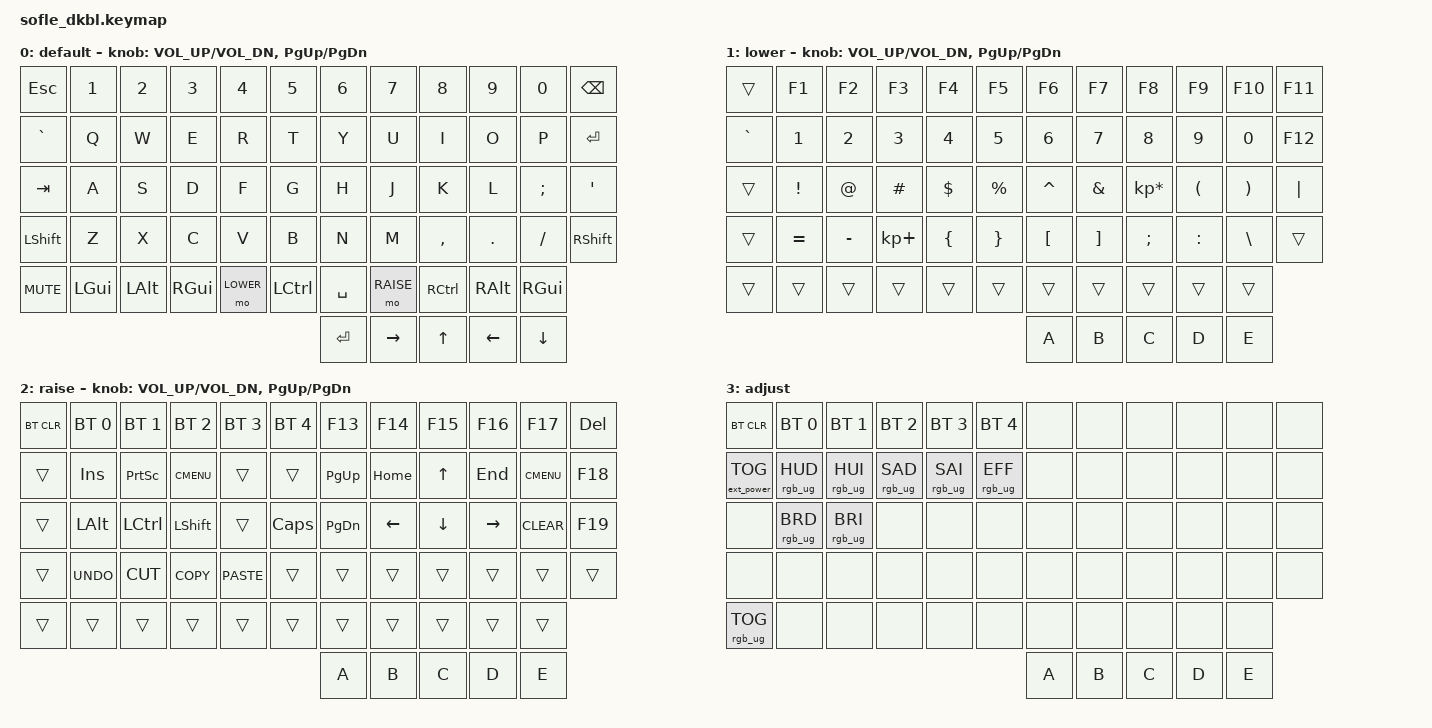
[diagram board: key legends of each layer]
/*
 * Copyright (c) 2020 The ZMK Contributors
 *
 * SPDX-License-Identifier: MIT
 */

#include <behaviors.dtsi>
#include <dt-bindings/zmk/bt.h>
#include <dt-bindings/zmk/ext_power.h>
#include <dt-bindings/zmk/keys.h>
#include <dt-bindings/zmk/rgb.h>

#define BASE 0
#define LOWER 1
#define RAISE 2
#define ADJUST 3

/ {
    // Activate ADJUST layer by pressing raise and lower

    conditional_layers {
        compatible = "zmk,conditional-layers";

        adjust_layer {
            if-layers = <LOWER RAISE>;
            then-layer = <ADJUST>;
        };
    };

    keymap {
        compatible = "zmk,keymap";

        default_layer {
            label = "default";
            // ------------------------------------------------------------------------------------------------------------
            // |  ESC  |  1  |  2  |  3   |  4   |  5   |                   |  6   |  7    |  8    |  9   |   0   | BKSPC |
            // | `     |  Q  |  W  |  E   |  R   |  T   |                   |  Y   |  U    |  I    |  O   |   P   | ENTER |
            // |  TAB  |  A  |  S  |  D   |  F   |  G   |                   |  H   |  J    |  K    |  L   |   ;   |   '   |
            // | SHIFT |  Z  |  X  |  C   |  V   |  B   |  MUTE  |  |       |  N   |  M    |  ,    |  .   |   /   | SHIFT |
            //               | GUI | ALT  | CTRL | LOWER|   GUI  |  | SPACE | RAISE| CTRL  | ALT   | GUI  |
                        bindings = <
&kp ESC     &kp N1    &kp N2    &kp N3     &kp N4     &kp N5    &kp N6      &kp N7     &kp N8        &kp N9    &kp N0    &kp BSPC
&kp GRAVE   &kp Q     &kp W     &kp E      &kp R      &kp T     &kp Y       &kp U      &kp I         &kp O     &kp P     &kp RET
&kp TAB     &kp A     &kp S     &kp D      &kp F      &kp G     &kp H       &kp J      &kp K         &kp L     &kp SEMI  &kp SQT
&kp LSHFT   &kp Z     &kp X     &kp C      &kp V      &kp B     &kp N       &kp M      &kp COMMA     &kp DOT   &kp FSLH  &kp RSHFT
&kp C_MUTE  &kp LGUI  &kp LALT  &kp RGUI   &mo LOWER  &kp LCTRL &kp SPACE  &mo RAISE  &kp RCTRL     &kp RALT  &kp RGUI
                                                               &kp ENTER   &kp RIGHT  &kp UP_ARROW  &kp LEFT  &kp DOWN
            >;

            sensor-bindings = <&inc_dec_kp C_VOL_UP C_VOL_DN &inc_dec_kp PG_UP PG_DN>;
        };

        lower_layer {
            label = "lower";

            // TODO: Some binds are waiting for shifted keycode support.
            // ------------------------------------------------------------------------------------------------------------
            // |       |  F1 |  F2 |  F3  |  F4  |  F5  |                   |  F6  |  F7   |  F8   |  F9  |  F10  |  F11  |
            // | `     |   1 |   2 |   3  |   4  |   5  |                   |   6  |   7   |   8   |   9  |    0  |  F12  |
            // |       |  !  |  @  |  #   |  $   |  %   |                   |  ^   |  &    |  *    |  (   |   )   |   |   |
            // |       |  =  |  -  |  +   |  {   |  }   |        |  |       |  [   |  ]    |  ;    |  :   |   \   |       |
            //               |     |      |      |      |        |  |       |      |       |       |      |
                        bindings = <
&trans    &kp F1     &kp F2     &kp F3       &kp F4    &kp F5     &kp F6     &kp F7    &kp F8           &kp F9     &kp F10   &kp F11
&kp GRAVE &kp N1     &kp N2     &kp N3       &kp N4    &kp N5     &kp N6     &kp N7    &kp N8           &kp N9     &kp N0    &kp F12
&trans    &kp EXCL   &kp AT     &kp HASH     &kp DLLR  &kp PRCNT  &kp CARET  &kp AMPS  &kp KP_MULTIPLY  &kp LPAR   &kp RPAR  &kp PIPE
&trans    &kp EQUAL  &kp MINUS  &kp KP_PLUS  &kp LBRC  &kp RBRC   &kp LBKT   &kp RBKT  &kp SEMI         &kp COLON  &kp BSLH  &trans
&trans    &trans     &trans     &trans       &trans    &trans     &trans     &trans    &trans           &trans     &trans
                                                                  &kp A      &kp B     &kp C            &kp D      &kp E
            >;

            sensor-bindings = <&inc_dec_kp C_VOL_UP C_VOL_DN &inc_dec_kp PG_UP PG_DN>;
        };

        raise_layer {
            label = "raise";

            // ------------------------------------------------------------------------------------------------------------
            // |BTCLR| BT1  | BT2  |  BT3  |  BT4  |  BT5 |                |  F13 |  F14 |   F15 |  F16 |   F17 |   DEL |
            // |     | INS  | PSCR | GUI   |       |      |                | PGUP | HOME |   ^   |  END |K_CMENU|   F18 |
            // |     | ALT  | CTRL | SHIFT |       | CAPS |                | PGDN |   <- |   v   |  ->  | CLEAR |   F19 |
            // |     | UNDO | CUT  | COPY  | PASTE |      |      |  |      |      |      |       |      |       |       |
            //              |      |       |       |      |      |  |      |      |      |       |      |
                        bindings = <
    &bt BT_CLR  &bt BT_SEL 0 &bt BT_SEL 1 &bt BT_SEL 2 &bt BT_SEL 3 &bt BT_SEL 4  &kp F13    &kp F14   &kp F15   &kp F16    &kp F17      &kp DEL
    &trans      &kp INS      &kp PSCRN    &kp K_CMENU  &trans       &trans        &kp PG_UP  &kp HOME  &kp UP    &kp END    &kp K_CMENU  &kp F18
    &trans      &kp LALT     &kp LCTRL    &kp LSHFT    &trans       &kp CLCK      &kp PG_DN  &kp LEFT  &kp DOWN  &kp RIGHT  &kp CLEAR    &kp F19
    &trans      &kp K_UNDO   &kp K_CUT    &kp K_COPY   &kp K_PASTE  &trans        &trans     &trans    &trans    &trans     &trans       &trans
    &trans      &trans       &trans       &trans       &trans       &trans        &trans     &trans    &trans    &trans     &trans
                                                                                  &kp A      &kp B     &kp C     &kp D      &kp E
            >;

            sensor-bindings = <&inc_dec_kp C_VOL_UP C_VOL_DN &inc_dec_kp PG_UP PG_DN>;
        };

        adjust_layer {
            // ----------------------------------------------------------------------------------------------------------------------------
            // | BTCLR  |  BT1    |  BT2    |   BT3   |   BT4   |   BT5   |                  |      |      |       |      |       |       |
            // | EXTPWR | RGB_HUD | RGB_HUI | RGB_SAD | RGB_SAI | RGB_EFF |                  |      |      |       |      |       |       |
            // |        | RGB_BRD | RGB_BRI |         |         |         |                  |      |      |       |      |       |       |
            // |        |         |         |         |         |         | RGB_TOG | |      |      |      |       |      |       |       |
            //                    |         |         |         |         |         | |      |      |      |       |      |

            label = "adjust";
            bindings = <
&bt BT_CLR         &bt BT_SEL 0     &bt BT_SEL 1     &bt BT_SEL 2     &bt BT_SEL 3     &bt BT_SEL 4     &none  &none  &none  &none  &none  &none
&ext_power EP_TOG  &rgb_ug RGB_HUD  &rgb_ug RGB_HUI  &rgb_ug RGB_SAD  &rgb_ug RGB_SAI  &rgb_ug RGB_EFF  &none  &none  &none  &none  &none  &none
&none              &rgb_ug RGB_BRD  &rgb_ug RGB_BRI  &none            &none            &none            &none  &none  &none  &none  &none  &none
&none              &none            &none            &none            &none            &none            &none  &none  &none  &none  &none  &none
&rgb_ug RGB_TOG    &none            &none            &none            &none            &none            &none  &none  &none  &none  &none
                                                                                                        &kp A  &kp B  &kp C  &kp D  &kp E
            >;
        };
    };
};
